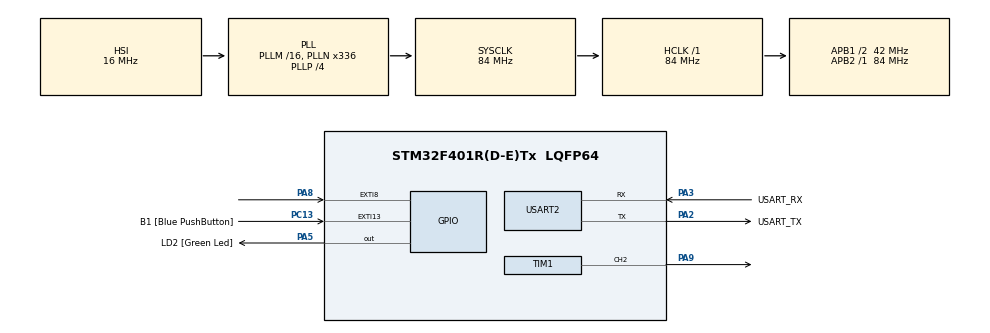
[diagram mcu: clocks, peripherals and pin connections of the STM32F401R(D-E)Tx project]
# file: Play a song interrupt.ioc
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Mcu.Family=STM32F4
Mcu.Name=STM32F401R(D-E)Tx
Mcu.Package=LQFP64
NVIC.EXTI9_5_IRQn=true\:1\:0\:true\:false\:true\:true\:true\:true
NVIC.PriorityGroup=NVIC_PRIORITYGROUP_1
PA13.GPIO_Label=TMS
PA13.Mode=Serial_Wire
PA13.Signal=SYS_JTMS-SWDIO
PA14.GPIO_Label=TCK
PA14.Mode=Serial_Wire
PA14.Signal=SYS_JTCK-SWCLK
PA2.GPIO_Label=USART_TX
PA2.GPIO_Mode=GPIO_MODE_AF_PP
PA2.GPIO_PuPd=GPIO_NOPULL
PA2.GPIO_Speed=GPIO_SPEED_FREQ_LOW
PA2.Mode=Asynchronous
PA2.Signal=USART2_TX
PA3.GPIO_Label=USART_RX
PA3.GPIO_Mode=GPIO_MODE_AF_PP
PA3.GPIO_PuPd=GPIO_NOPULL
PA3.GPIO_Speed=GPIO_SPEED_FREQ_LOW
PA3.Mode=Asynchronous
PA3.Signal=USART2_RX
PA5.GPIO_Label=LD2 [Green Led]
PA5.GPIO_Mode=GPIO_MODE_OUTPUT_PP
PA5.GPIO_PuPd=GPIO_NOPULL
PA5.GPIO_Speed=GPIO_SPEED_FREQ_LOW
PA5.Signal=GPIO_Output
PA8.Signal=GPXTI8
PA9.Signal=S_TIM1_CH2
PB3.GPIO_Label=SWO
PB3.Signal=SYS_JTDO-SWO
PC13-ANTI_TAMP.GPIO_Label=B1 [Blue PushButton]
PC13-ANTI_TAMP.GPIO_ModeDefaultEXTI=GPIO_MODE_IT_FALLING
PC13-ANTI_TAMP.GPIO_PuPd=GPIO_NOPULL
PC13-ANTI_TAMP.Signal=GPXTI13
PC14-OSC32_IN.Mode=LSE-External-Oscillator
PC14-OSC32_IN.Signal=RCC_OSC32_IN
PC15-OSC32_OUT.Mode=LSE-External-Oscillator
PC15-OSC32_OUT.Signal=RCC_OSC32_OUT
PH0\ -\ OSC_IN.Mode=HSE-External-Clock-Source
PH0\ -\ OSC_IN.Signal=RCC_OSC_IN
PH1\ -\ OSC_OUT.Mode=HSE-External-Clock-Source
PH1\ -\ OSC_OUT.Signal=RCC_OSC_OUT
ProjectManager.HeapSize=0x200
ProjectManager.StackSize=0x400
ProjectManager.TargetToolchain=STM32CubeIDE
RCC.48MHZClocksFreq_Value=48000000
RCC.AHBFreq_Value=84000000
RCC.APB1CLKDivider=RCC_HCLK_DIV2
RCC.APB1Freq_Value=42000000
RCC.APB1TimFreq_Value=84000000
RCC.APB2Freq_Value=84000000
RCC.APB2TimFreq_Value=84000000
RCC.CortexFreq_Value=84000000
RCC.HCLKFreq_Value=84000000
RCC.HSE_VALUE=8000000
RCC.HSI_VALUE=16000000
RCC.PLLN=336
RCC.PLLP=RCC_PLLP_DIV4
RCC.PLLQ=7
RCC.SYSCLKFreq_VALUE=84000000
RCC.SYSCLKSource=RCC_SYSCLKSOURCE_PLLCLK
RCC.VCOOutputFreq_Value=336000000
SH.S_TIM1_CH2.0=TIM1_CH2,PWM Generation2 CH2
TIM1.Channel-PWM\ Generation2\ CH2=TIM_CHANNEL_2
TIM1.OC2Preload_PWM=DISABLE
TIM1.Prescaler=100
USART2.VirtualMode=VM_ASYNC
VP_TIM1_VS_ClockSourceINT.Mode=Internal
board=NUCLEO-F401RE

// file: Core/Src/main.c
/* USER CODE BEGIN Header */
/**
  ******************************************************************************
  * @file           : main.c
  * @brief          : Main program body
  ******************************************************************************
  * @attention
  *
  * Copyright (c) 2022 STMicroelectronics.
  * All rights reserved.
  *
  * This software is licensed under terms that can be found in the LICENSE file
  * in the root directory of this software component.
  * If no LICENSE file comes with this software, it is provided AS-IS.
  *
  ******************************************************************************
  */
/* USER CODE END Header */
#include "main.h"

TIM_HandleTypeDef htim1;

UART_HandleTypeDef huart2;

/* USER CODE BEGIN PV */
struct ConstNote{
	float period;
	float pulse;
};

const struct ConstNote DO = {3206.10687, 1603.053435};
const struct ConstNote DOd = {3032.490975, 1516.245487};
const struct ConstNote RE = {2857.142857, 1428.571429};
const struct ConstNote REd = {2700.96463, 1350.482315};
const struct ConstNote MI = {2545.454545, 1272.727273};
const struct ConstNote FA = {2406.876791, 1203.438395};
const struct ConstNote FAd = {2270.27027, 1135.135135};
const struct ConstNote SOL = {2142.857143, 1071.428571};
const struct ConstNote SOLd = {2024.096386, 1012.048193};
const struct ConstNote LA = {1909.090909, 954.5454545};
const struct ConstNote LAd = {1802.575107, 901.2875536};
const struct ConstNote SI = {1700.404858, 850.2024291};

//a SopngNote represents a single note, with it's height and duration
struct SongNote{
	struct ConstNote height;
	int duration;
};

//a music is an array of notes
int songLength = 24;
struct SongNote song[] = {{SOL, 3}, {LA, 1}, {SOL, 2}, {FA, 2},
  						  {MI, 2}, {FA, 2}, {SOL, 4},
  						  {RE, 2}, {MI, 2}, {FA, 4},
  						  {MI, 2}, {FA, 2}, {SOL, 4},
  						  {SOL, 3}, {LA, 1}, {SOL, 2}, {FA, 2},
  						  {MI, 2}, {FA, 2}, {SOL, 4},
  						  {RE, 4}, {SOL, 4},
  						  {MI, 2}, {DO, 6}};

const int eight = 100;
const int up_eight = 90;
const int down_eight = 10;
/* USER CODE END PV */

void SystemClock_Config(void);
static void MX_GPIO_Init(void);
static void MX_USART2_UART_Init(void);
static void MX_TIM1_Init(void);

int main(void)
{

  /* MCU Configuration--------------------------------------------------------*/

  /* Reset of all peripherals, Initializes the Flash interface and the Systick. */
  HAL_Init();

  /* Configure the system clock */
  SystemClock_Config();

  /* Initialize all configured peripherals */
  MX_GPIO_Init();
  MX_USART2_UART_Init();
  MX_TIM1_Init();

  /* Infinite loop */
  while (1)
  {

  }
}

void SystemClock_Config(void)
{
  RCC_OscInitTypeDef RCC_OscInitStruct = {0};
  RCC_ClkInitTypeDef RCC_ClkInitStruct = {0};

  /** Configure the main internal regulator output voltage
  */
  __HAL_RCC_PWR_CLK_ENABLE();
  __HAL_PWR_VOLTAGESCALING_CONFIG(PWR_REGULATOR_VOLTAGE_SCALE2);

  /** Initializes the RCC Oscillators according to the specified parameters
  * in the RCC_OscInitTypeDef structure.
  */
  RCC_OscInitStruct.OscillatorType = RCC_OSCILLATORTYPE_HSI;
  RCC_OscInitStruct.HSIState = RCC_HSI_ON;
  RCC_OscInitStruct.HSICalibrationValue = RCC_HSICALIBRATION_DEFAULT;
  RCC_OscInitStruct.PLL.PLLState = RCC_PLL_ON;
  RCC_OscInitStruct.PLL.PLLSource = RCC_PLLSOURCE_HSI;
  RCC_OscInitStruct.PLL.PLLM = 16;
  RCC_OscInitStruct.PLL.PLLN = 336;
  RCC_OscInitStruct.PLL.PLLP = RCC_PLLP_DIV4;
  RCC_OscInitStruct.PLL.PLLQ = 7;
  if (HAL_RCC_OscConfig(&RCC_OscInitStruct) != HAL_OK)
  {
    Error_Handler();
  }

  /** Initializes the CPU, AHB and APB buses clocks
  */
  RCC_ClkInitStruct.ClockType = RCC_CLOCKTYPE_HCLK|RCC_CLOCKTYPE_SYSCLK
                              |RCC_CLOCKTYPE_PCLK1|RCC_CLOCKTYPE_PCLK2;
  RCC_ClkInitStruct.SYSCLKSource = RCC_SYSCLKSOURCE_PLLCLK;
  RCC_ClkInitStruct.AHBCLKDivider = RCC_SYSCLK_DIV1;
  RCC_ClkInitStruct.APB1CLKDivider = RCC_HCLK_DIV2;
  RCC_ClkInitStruct.APB2CLKDivider = RCC_HCLK_DIV1;

  if (HAL_RCC_ClockConfig(&RCC_ClkInitStruct, FLASH_LATENCY_2) != HAL_OK)
  {
    Error_Handler();
  }
}

static void MX_TIM1_Init(void)
{

  TIM_ClockConfigTypeDef sClockSourceConfig = {0};
  TIM_MasterConfigTypeDef sMasterConfig = {0};
  TIM_OC_InitTypeDef sConfigOC = {0};
  TIM_BreakDeadTimeConfigTypeDef sBreakDeadTimeConfig = {0};

  htim1.Instance = TIM1;
  htim1.Init.Prescaler = 100;
  htim1.Init.CounterMode = TIM_COUNTERMODE_UP;
  htim1.Init.Period = 65535;
  htim1.Init.ClockDivision = TIM_CLOCKDIVISION_DIV1;
  htim1.Init.RepetitionCounter = 0;
  htim1.Init.AutoReloadPreload = TIM_AUTORELOAD_PRELOAD_DISABLE;
  if (HAL_TIM_Base_Init(&htim1) != HAL_OK)
  {
    Error_Handler();
  }
  sClockSourceConfig.ClockSource = TIM_CLOCKSOURCE_INTERNAL;
  if (HAL_TIM_ConfigClockSource(&htim1, &sClockSourceConfig) != HAL_OK)
  {
    Error_Handler();
  }
  if (HAL_TIM_PWM_Init(&htim1) != HAL_OK)
  {
    Error_Handler();
  }
  sMasterConfig.MasterOutputTrigger = TIM_TRGO_RESET;
  sMasterConfig.MasterSlaveMode = TIM_MASTERSLAVEMODE_DISABLE;
  if (HAL_TIMEx_MasterConfigSynchronization(&htim1, &sMasterConfig) != HAL_OK)
  {
    Error_Handler();
  }
  sConfigOC.OCMode = TIM_OCMODE_PWM1;
  sConfigOC.Pulse = 0;
  sConfigOC.OCPolarity = TIM_OCPOLARITY_HIGH;
  sConfigOC.OCNPolarity = TIM_OCNPOLARITY_HIGH;
  sConfigOC.OCFastMode = TIM_OCFAST_DISABLE;
  sConfigOC.OCIdleState = TIM_OCIDLESTATE_RESET;
  sConfigOC.OCNIdleState = TIM_OCNIDLESTATE_RESET;
  if (HAL_TIM_PWM_ConfigChannel(&htim1, &sConfigOC, TIM_CHANNEL_2) != HAL_OK)
  {
    Error_Handler();
  }
  __HAL_TIM_DISABLE_OCxPRELOAD(&htim1, TIM_CHANNEL_2);
  sBreakDeadTimeConfig.OffStateRunMode = TIM_OSSR_DISABLE;
  sBreakDeadTimeConfig.OffStateIDLEMode = TIM_OSSI_DISABLE;
  sBreakDeadTimeConfig.LockLevel = TIM_LOCKLEVEL_OFF;
  sBreakDeadTimeConfig.DeadTime = 0;
  sBreakDeadTimeConfig.BreakState = TIM_BREAK_DISABLE;
  sBreakDeadTimeConfig.BreakPolarity = TIM_BREAKPOLARITY_HIGH;
  sBreakDeadTimeConfig.AutomaticOutput = TIM_AUTOMATICOUTPUT_DISABLE;
  if (HAL_TIMEx_ConfigBreakDeadTime(&htim1, &sBreakDeadTimeConfig) != HAL_OK)
  {
    Error_Handler();
  }
  HAL_TIM_MspPostInit(&htim1);

}

static void MX_USART2_UART_Init(void)
{

  huart2.Instance = USART2;
  huart2.Init.BaudRate = 115200;
  huart2.Init.WordLength = UART_WORDLENGTH_8B;
  huart2.Init.StopBits = UART_STOPBITS_1;
  huart2.Init.Parity = UART_PARITY_NONE;
  huart2.Init.Mode = UART_MODE_TX_RX;
  huart2.Init.HwFlowCtl = UART_HWCONTROL_NONE;
  huart2.Init.OverSampling = UART_OVERSAMPLING_16;
  if (HAL_UART_Init(&huart2) != HAL_OK)
  {
    Error_Handler();
  }

}

static void MX_GPIO_Init(void)
{
  GPIO_InitTypeDef GPIO_InitStruct = {0};

  /* GPIO Ports Clock Enable */
  __HAL_RCC_GPIOC_CLK_ENABLE();
  __HAL_RCC_GPIOH_CLK_ENABLE();
  __HAL_RCC_GPIOA_CLK_ENABLE();
  __HAL_RCC_GPIOB_CLK_ENABLE();

  /*Configure GPIO pin Output Level */
  HAL_GPIO_WritePin(LD2_GPIO_Port, LD2_Pin, GPIO_PIN_RESET);

  /*Configure GPIO pin : B1_Pin */
  GPIO_InitStruct.Pin = B1_Pin;
  GPIO_InitStruct.Mode = GPIO_MODE_IT_FALLING;
  GPIO_InitStruct.Pull = GPIO_NOPULL;
  HAL_GPIO_Init(B1_GPIO_Port, &GPIO_InitStruct);

  /*Configure GPIO pin : LD2_Pin */
  GPIO_InitStruct.Pin = LD2_Pin;
  GPIO_InitStruct.Mode = GPIO_MODE_OUTPUT_PP;
  GPIO_InitStruct.Pull = GPIO_NOPULL;
  GPIO_InitStruct.Speed = GPIO_SPEED_FREQ_LOW;
  HAL_GPIO_Init(LD2_GPIO_Port, &GPIO_InitStruct);

  /*Configure GPIO pin : PA8 */
  GPIO_InitStruct.Pin = GPIO_PIN_8;
  GPIO_InitStruct.Mode = GPIO_MODE_IT_RISING;
  GPIO_InitStruct.Pull = GPIO_NOPULL;
  HAL_GPIO_Init(GPIOA, &GPIO_InitStruct);

  /* EXTI interrupt init*/
  HAL_NVIC_SetPriority(EXTI9_5_IRQn, 1, 0);
  HAL_NVIC_EnableIRQ(EXTI9_5_IRQn);

}

/* USER CODE BEGIN 4 */
void playNote(struct SongNote songNote){
	__HAL_TIM_SET_AUTORELOAD(&htim1, songNote.height.period);
	__HAL_TIM_SET_COMPARE(&htim1, TIM_CHANNEL_2, songNote.height.pulse);
	HAL_TIM_PWM_Start(&htim1, TIM_CHANNEL_2);
	HAL_Delay(songNote.duration*up_eight);
	HAL_TIM_PWM_Stop(&htim1, TIM_CHANNEL_2);
	HAL_Delay(songNote.duration*down_eight);
}

void playSong(struct SongNote songNotes[], int songLength){
	for(int i = 0; i < songLength; i++){
		playNote(songNotes[i]);
	}
}

void HAL_GPIO_EXTI_Callback(uint16_t GPIO_Pin){
  switch(GPIO_Pin){
  		case GPIO_PIN_8:
  			playSong(song, songLength);
  			HAL_Delay(5);
  			__HAL_GPIO_EXTI_CLEAR_IT(GPIO_Pin);
  			break;
  		default:
  			break;
  	}
}
/* USER CODE END 4 */

void Error_Handler(void)
{
  __disable_irq();
  while (1)
  {
  }
}
